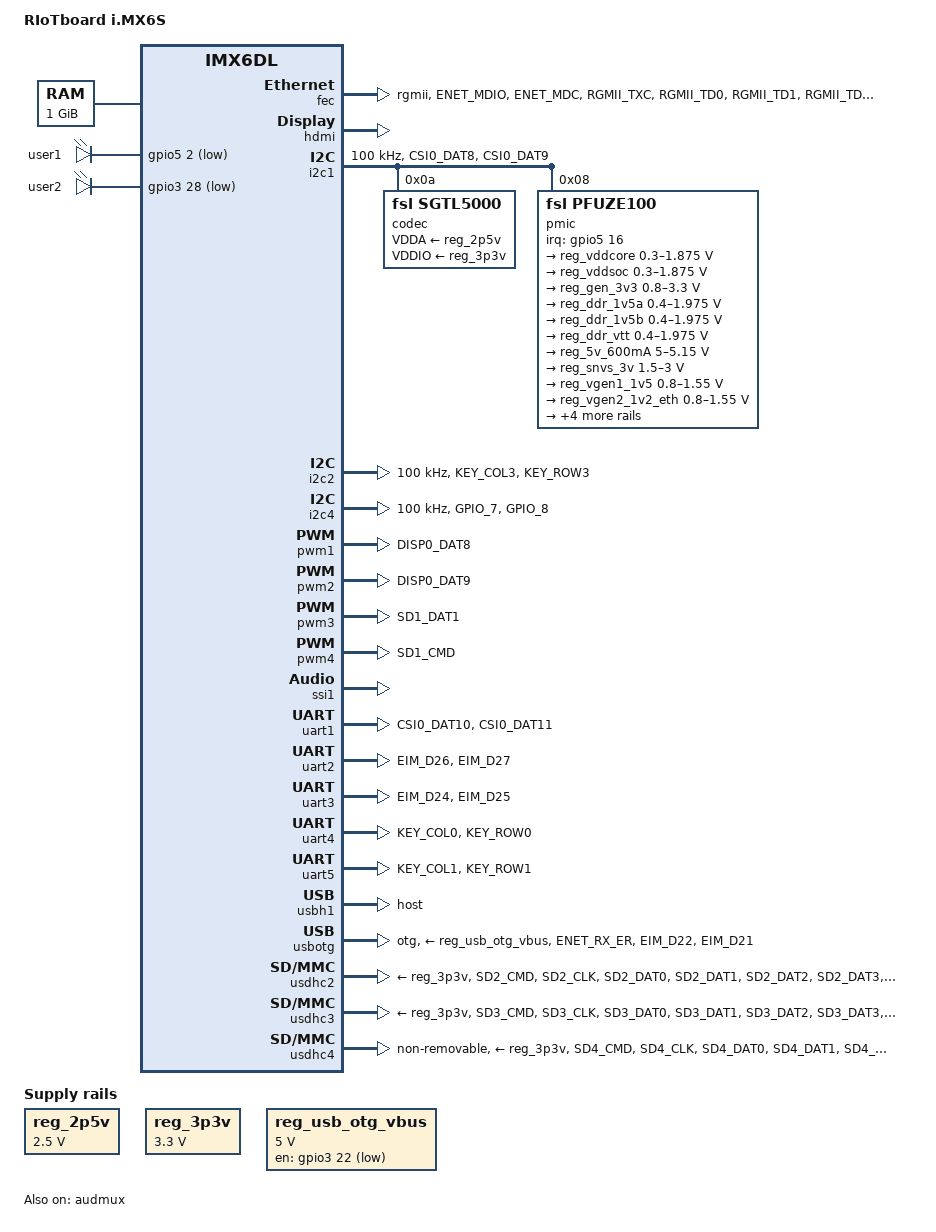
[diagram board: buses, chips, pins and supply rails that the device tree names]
/*
 * Copyright 2014 Iain Paton <ipaton0@gmail.com>
 *
 * This program is free software; you can redistribute it and/or modify
 * it under the terms of the GNU General Public License version 2 as
 * published by the Free Software Foundation.
 *
 */

/dts-v1/;
#include "imx6dl.dtsi"
#include <dt-bindings/gpio/gpio.h>

/ {
	model = "RIoTboard i.MX6S";
	compatible = "riot,imx6s-riotboard", "fsl,imx6dl";

	memory@10000000 {
		reg = <0x10000000 0x40000000>;
	};

	chosen {
		stdout-path = "serial1:115200n8";
	};

	leds {
		compatible = "gpio-leds";
		pinctrl-names = "default";
		pinctrl-0 = <&pinctrl_led>;

		led0: user1 {
			label = "user1";
			gpios = <&gpio5 2 GPIO_ACTIVE_LOW>;
			default-state = "on";
			linux,default-trigger = "heartbeat";
		};

		led1: user2 {
			label = "user2";
			gpios = <&gpio3 28 GPIO_ACTIVE_LOW>;
			default-state = "off";
		};
	};

	sound {
		compatible = "fsl,imx-audio-sgtl5000";
		model = "imx6-riotboard-sgtl5000";
		ssi-controller = <&ssi1>;
		audio-codec = <&codec>;
		audio-routing =
			"MIC_IN", "Mic Jack",
			"Mic Jack", "Mic Bias",
			"Headphone Jack", "HP_OUT";
			mux-int-port = <1>;
			mux-ext-port = <3>;
	};

	reg_2p5v: regulator-2p5v {
		compatible = "regulator-fixed";
		regulator-name = "2P5V";
		regulator-min-microvolt = <2500000>;
		regulator-max-microvolt = <2500000>;
	};

	reg_3p3v: regulator-3p3v {
		compatible = "regulator-fixed";
		regulator-name = "3P3V";
		regulator-min-microvolt = <3300000>;
		regulator-max-microvolt = <3300000>;
	};

	reg_usb_otg_vbus: regulator-usbotgvbus {
		compatible = "regulator-fixed";
		regulator-name = "usb_otg_vbus";
		regulator-min-microvolt = <5000000>;
		regulator-max-microvolt = <5000000>;
		gpio = <&gpio3 22 GPIO_ACTIVE_LOW>;
	};
};

&audmux {
	pinctrl-names = "default";
	pinctrl-0 = <&pinctrl_audmux>;
	status = "okay";
};

&fec {
	pinctrl-names = "default";
	pinctrl-0 = <&pinctrl_enet>;
	phy-mode = "rgmii";
	phy-reset-gpios = <&gpio3 31 GPIO_ACTIVE_LOW>;
	interrupts-extended = <&gpio1 6 IRQ_TYPE_LEVEL_HIGH>,
			      <&intc 0 119 IRQ_TYPE_LEVEL_HIGH>;
	fsl,err006687-workaround-present;
	status = "okay";
};

&gpio1 {
	gpio-line-names =
		"", "", "SD2_WP", "", "SD2_CD", "I2C3_SCL",
			"I2C3_SDA", "I2C4_SCL",
		"I2C4_SDA", "", "", "", "", "", "", "",
		"", "PWM3", "", "", "", "", "", "",
		"", "", "", "", "", "", "", "";
};

&gpio3 {
	gpio-line-names =
		"", "", "", "", "", "", "", "",
		"", "", "", "", "", "", "", "",
		"", "", "", "", "", "", "USB_OTG_VBUS", "",
		"UART3_TXD", "UART3_RXD", "", "", "EIM_D28", "", "", "";
};

&gpio4 {
	gpio-line-names =
		"", "", "", "", "", "", "UART4_TXD", "UART4_RXD",
		"UART5_TXD", "UART5_RXD", "", "", "", "", "", "",
		"GPIO4_16", "GPIO4_17", "GPIO4_18", "GPIO4_19", "",
			"CSPI3_CLK", "CSPI3_MOSI", "CSPI3_MISO",
		"CSPI3_CS0", "CSPI3_CS1", "GPIO4_26", "GPIO4_27",
			"CSPI3_RDY", "PWM1", "PWM2", "GPIO4_31";
};

&gpio5 {
	gpio-line-names =
		"", "", "EIM_A25", "", "", "GPIO5_05", "GPIO5_06",
			"GPIO5_07",
		"GPIO5_08", "CSPI2_CS1", "CSPI2_MOSI", "CSPI2_MISO",
			"CSPI2_CS0", "CSPI2_CLK", "", "",
		"", "", "", "", "", "", "", "",
		"", "", "", "", "", "", "", "";
};

&gpio7 {
	gpio-line-names =
		"SD3_CD", "SD3_WP", "", "", "", "", "", "",
		"", "", "", "", "", "", "", "",
		"", "", "", "", "", "", "", "",
		"", "", "", "", "", "", "", "";
};

&hdmi {
	ddc-i2c-bus = <&i2c2>;
	status = "okay";
};

&i2c1 {
	clock-frequency = <100000>;
	pinctrl-names = "default";
	pinctrl-0 = <&pinctrl_i2c1>;
	status = "okay";

	codec: sgtl5000@a {
		compatible = "fsl,sgtl5000";
		reg = <0x0a>;
		clocks = <&clks IMX6QDL_CLK_CKO>;
		VDDA-supply = <&reg_2p5v>;
		VDDIO-supply = <&reg_3p3v>;
	};

	pmic: pf0100@8 {
		compatible = "fsl,pfuze100";
		reg = <0x08>;
		interrupt-parent = <&gpio5>;
		interrupts = <16 8>;

		regulators {
			reg_vddcore: sw1ab {				/* VDDARM_IN */
				regulator-min-microvolt = <300000>;
				regulator-max-microvolt = <1875000>;
				regulator-always-on;
			};

			reg_vddsoc: sw1c {				/* VDDSOC_IN */
				regulator-min-microvolt = <300000>;
				regulator-max-microvolt = <1875000>;
				regulator-always-on;
			};

			reg_gen_3v3: sw2 {				/* VDDHIGH_IN */
				regulator-min-microvolt = <800000>;
				regulator-max-microvolt = <3300000>;
				regulator-always-on;
			};

			reg_ddr_1v5a: sw3a {				/* NVCC_DRAM, NVCC_RGMII */
				regulator-min-microvolt = <400000>;
				regulator-max-microvolt = <1975000>;
				regulator-always-on;
			};

			reg_ddr_1v5b: sw3b {				/* NVCC_DRAM, NVCC_RGMII */
				regulator-min-microvolt = <400000>;
				regulator-max-microvolt = <1975000>;
				regulator-always-on;
			};

			reg_ddr_vtt: sw4 {				/* MIPI conn */
				regulator-min-microvolt = <400000>;
				regulator-max-microvolt = <1975000>;
				regulator-always-on;
			};

			reg_5v_600mA: swbst {				/* not used */
				regulator-min-microvolt = <5000000>;
				regulator-max-microvolt = <5150000>;
			};

			reg_snvs_3v: vsnvs {				/* VDD_SNVS_IN */
				regulator-min-microvolt = <1500000>;
				regulator-max-microvolt = <3000000>;
				regulator-always-on;
			};

			vref_reg: vrefddr {				/* VREF_DDR */
				regulator-boot-on;
				regulator-always-on;
			};

			reg_vgen1_1v5: vgen1 {				/* not used */
				regulator-min-microvolt = <800000>;
				regulator-max-microvolt = <1550000>;
			};

			reg_vgen2_1v2_eth: vgen2 {			/* pcie ? */
				regulator-min-microvolt = <800000>;
				regulator-max-microvolt = <1550000>;
				regulator-always-on;
			};

			reg_vgen3_2v8: vgen3 {				/* not used */
				regulator-min-microvolt = <1800000>;
				regulator-max-microvolt = <3300000>;
			};
			reg_vgen4_1v8: vgen4 {				/* NVCC_SD3 */
				regulator-min-microvolt = <1800000>;
				regulator-max-microvolt = <3300000>;
				regulator-always-on;
			};

			reg_vgen5_2v5_sgtl: vgen5 {			/* Pwr LED & 5V0_delayed enable */
				regulator-min-microvolt = <1800000>;
				regulator-max-microvolt = <3300000>;
				regulator-always-on;
			};

			reg_vgen6_3v3: vgen6 {				/* #V#_DELAYED enable, MIPI */
				regulator-min-microvolt = <1800000>;
				regulator-max-microvolt = <3300000>;
				regulator-always-on;
			};
		};
	};
};

&i2c2 {
	clock-frequency = <100000>;
	pinctrl-names = "default";
	pinctrl-0 = <&pinctrl_i2c2>;
	status = "okay";
};

&i2c4 {
	clock-frequency = <100000>;
	pinctrl-names = "default";
	pinctrl-0 = <&pinctrl_i2c4>;
	clocks = <&clks 116>;
	status = "okay";
};

&pwm1 {
	pinctrl-names = "default";
	pinctrl-0 = <&pinctrl_pwm1>;
	status = "okay";
};

&pwm2 {
	pinctrl-names = "default";
	pinctrl-0 = <&pinctrl_pwm2>;
	status = "okay";
};

&pwm3 {
	pinctrl-names = "default";
	pinctrl-0 = <&pinctrl_pwm3>;
	status = "okay";
};

&pwm4 {
	pinctrl-names = "default";
	pinctrl-0 = <&pinctrl_pwm4>;
	status = "okay";
};

&ssi1 {
	status = "okay";
};

&uart1 {
	pinctrl-names = "default";
	pinctrl-0 = <&pinctrl_uart1>;
	status = "okay";
};

&uart2 {
	pinctrl-names = "default";
	pinctrl-0 = <&pinctrl_uart2>;
	status = "okay";
};

&uart3 {
	pinctrl-names = "default";
	pinctrl-0 = <&pinctrl_uart3>;
	status = "okay";
};

&uart4 {
	pinctrl-names = "default";
	pinctrl-0 = <&pinctrl_uart4>;
	status = "okay";
};

&uart5 {
	pinctrl-names = "default";
	pinctrl-0 = <&pinctrl_uart5>;
	status = "okay";
};

&usbh1 {
	dr_mode = "host";
	disable-over-current;
	status = "okay";
};

&usbotg {
	vbus-supply = <&reg_usb_otg_vbus>;
	pinctrl-names = "default";
	pinctrl-0 = <&pinctrl_usbotg>;
	disable-over-current;
	dr_mode = "otg";
	status = "okay";
};

&usdhc2 {
	pinctrl-names = "default";
	pinctrl-0 = <&pinctrl_usdhc2>;
	cd-gpios = <&gpio1 4 GPIO_ACTIVE_LOW>;
	wp-gpios = <&gpio1 2 GPIO_ACTIVE_HIGH>;
	vmmc-supply = <&reg_3p3v>;
	status = "okay";
};

&usdhc3 {
	pinctrl-names = "default";
	pinctrl-0 = <&pinctrl_usdhc3>;
	cd-gpios = <&gpio7 0 GPIO_ACTIVE_LOW>;
	wp-gpios = <&gpio7 1 GPIO_ACTIVE_HIGH>;
	vmmc-supply = <&reg_3p3v>;
	status = "okay";
};

&usdhc4 {
	pinctrl-names = "default";
	pinctrl-0 = <&pinctrl_usdhc4>;
	vmmc-supply = <&reg_3p3v>;
	non-removable;
	status = "okay";
};

&iomuxc {
	pinctrl-names = "default";

	imx6-riotboard {
		pinctrl_audmux: audmuxgrp {
			fsl,pins = <
				MX6QDL_PAD_CSI0_DAT7__AUD3_RXD		0x130b0
				MX6QDL_PAD_CSI0_DAT4__AUD3_TXC		0x130b0
				MX6QDL_PAD_CSI0_DAT5__AUD3_TXD		0x110b0
				MX6QDL_PAD_CSI0_DAT6__AUD3_TXFS		0x130b0
				MX6QDL_PAD_GPIO_0__CCM_CLKO1		0x130b0		/* CAM_MCLK */
			>;
		};

		pinctrl_ecspi1: ecspi1grp {
			fsl,pins = <
				MX6QDL_PAD_EIM_D16__ECSPI1_SCLK		0x100b1
				MX6QDL_PAD_EIM_D17__ECSPI1_MISO		0x100b1
				MX6QDL_PAD_EIM_D18__ECSPI1_MOSI		0x100b1
				MX6QDL_PAD_DISP0_DAT23__GPIO5_IO17	0x000b1		/* CS0 */
			>;
		};

		pinctrl_ecspi2: ecspi2grp {
			fsl,pins = <
				MX6QDL_PAD_DISP0_DAT15__GPIO5_IO09	0x000b1		/* CS1 */
				MX6QDL_PAD_DISP0_DAT16__ECSPI2_MOSI	0x100b1
				MX6QDL_PAD_DISP0_DAT17__ECSPI2_MISO	0x100b1
				MX6QDL_PAD_DISP0_DAT18__GPIO5_IO12	0x000b1		/* CS0 */
				MX6QDL_PAD_DISP0_DAT19__ECSPI2_SCLK	0x100b1
			>;
		};

		pinctrl_ecspi3: ecspi3grp {
			fsl,pins = <
				MX6QDL_PAD_DISP0_DAT0__ECSPI3_SCLK	0x100b1
				MX6QDL_PAD_DISP0_DAT1__ECSPI3_MOSI	0x100b1
				MX6QDL_PAD_DISP0_DAT2__ECSPI3_MISO	0x100b1
				MX6QDL_PAD_DISP0_DAT3__GPIO4_IO24	0x000b1		/* CS0 */
				MX6QDL_PAD_DISP0_DAT4__GPIO4_IO25	0x000b1		/* CS1 */
			>;
		};

		pinctrl_enet: enetgrp {
			fsl,pins = <
				MX6QDL_PAD_ENET_MDIO__ENET_MDIO		0x1b0b0
				MX6QDL_PAD_ENET_MDC__ENET_MDC		0x1b0b0
				MX6QDL_PAD_RGMII_TXC__RGMII_TXC		0x1b030
				MX6QDL_PAD_RGMII_TD0__RGMII_TD0		0x1b030
				MX6QDL_PAD_RGMII_TD1__RGMII_TD1		0x1b030
				MX6QDL_PAD_RGMII_TD2__RGMII_TD2		0x1b030
				MX6QDL_PAD_RGMII_TD3__RGMII_TD3		0x1b030
				MX6QDL_PAD_RGMII_TX_CTL__RGMII_TX_CTL	0x1b030
				MX6QDL_PAD_ENET_REF_CLK__ENET_TX_CLK	0x0a0b1		/* AR8035 CLK_25M --> ENET_REF_CLK (V22) */
				MX6QDL_PAD_RGMII_RXC__RGMII_RXC		0x1b030		/* AR8035 pin strapping: IO voltage: pull up */
				MX6QDL_PAD_RGMII_RD0__RGMII_RD0		0x13030		/* AR8035 pin strapping: PHYADDR#0: pull down */
				MX6QDL_PAD_RGMII_RD1__RGMII_RD1		0x13030		/* AR8035 pin strapping: PHYADDR#1: pull down */
				MX6QDL_PAD_RGMII_RD2__RGMII_RD2		0x1b030		/* AR8035 pin strapping: MODE#1: pull up */
				MX6QDL_PAD_RGMII_RD3__RGMII_RD3		0x1b030		/* AR8035 pin strapping: MODE#3: pull up */
				MX6QDL_PAD_RGMII_RX_CTL__RGMII_RX_CTL	0x130b0		/* AR8035 pin strapping: MODE#0: pull down */
				MX6QDL_PAD_GPIO_16__ENET_REF_CLK	0x4001b0a8	/* GPIO16 -> AR8035 25MHz */
				MX6QDL_PAD_EIM_D31__GPIO3_IO31		0x130b0		/* RGMII_nRST */
				MX6QDL_PAD_ENET_TX_EN__GPIO1_IO28	0x180b0		/* AR8035 interrupt */
				MX6QDL_PAD_GPIO_6__ENET_IRQ		0x000b1
			>;
		};

		pinctrl_i2c1: i2c1grp {
			fsl,pins = <
				MX6QDL_PAD_CSI0_DAT8__I2C1_SDA		0x4001b8b1
				MX6QDL_PAD_CSI0_DAT9__I2C1_SCL		0x4001b8b1
			>;
		};

		pinctrl_i2c2: i2c2grp {
			fsl,pins = <
				MX6QDL_PAD_KEY_COL3__I2C2_SCL		0x4001b8b1
				MX6QDL_PAD_KEY_ROW3__I2C2_SDA		0x4001b8b1
			>;
		};

		pinctrl_i2c3: i2c3grp {
			fsl,pins = <
				MX6QDL_PAD_GPIO_5__I2C3_SCL		0x4001b8b1
				MX6QDL_PAD_GPIO_6__I2C3_SDA		0x4001b8b1
			>;
		};

		pinctrl_i2c4: i2c4grp {
			fsl,pins = <
				MX6QDL_PAD_GPIO_7__I2C4_SCL             0x4001b8b1
				MX6QDL_PAD_GPIO_8__I2C4_SDA             0x4001b8b1
			>;
		};

		pinctrl_led: ledgrp {
			fsl,pins = <
				MX6QDL_PAD_EIM_A25__GPIO5_IO02		0x1b0b1	/* user led0 */
				MX6QDL_PAD_EIM_D28__GPIO3_IO28		0x1b0b1	/* user led1 */
			>;
		};

		pinctrl_pwm1: pwm1grp {
			fsl,pins = <
				MX6QDL_PAD_DISP0_DAT8__PWM1_OUT		0x1b0b1
			>;
		};

		pinctrl_pwm2: pwm2grp {
			fsl,pins = <
				MX6QDL_PAD_DISP0_DAT9__PWM2_OUT		0x1b0b1
			>;
		};

		pinctrl_pwm3: pwm3grp {
			fsl,pins = <
				MX6QDL_PAD_SD1_DAT1__PWM3_OUT		0x1b0b1
			>;
		};

		pinctrl_pwm4: pwm4grp {
			fsl,pins = <
				MX6QDL_PAD_SD1_CMD__PWM4_OUT		0x1b0b1
			>;
		};

		pinctrl_uart1: uart1grp {
			fsl,pins = <
				MX6QDL_PAD_CSI0_DAT10__UART1_TX_DATA	0x1b0b1
				MX6QDL_PAD_CSI0_DAT11__UART1_RX_DATA	0x1b0b1
			>;
		};

		pinctrl_uart2: uart2grp {
			fsl,pins = <
				MX6QDL_PAD_EIM_D26__UART2_TX_DATA	0x1b0b1
				MX6QDL_PAD_EIM_D27__UART2_RX_DATA	0x1b0b1
			>;
		};

		pinctrl_uart3: uart3grp {
			fsl,pins = <
				MX6QDL_PAD_EIM_D24__UART3_TX_DATA	0x1b0b1
				MX6QDL_PAD_EIM_D25__UART3_RX_DATA	0x1b0b1
			>;
		};

		pinctrl_uart4: uart4grp {
			fsl,pins = <
				MX6QDL_PAD_KEY_COL0__UART4_TX_DATA	0x1b0b1
				MX6QDL_PAD_KEY_ROW0__UART4_RX_DATA	0x1b0b1
			>;
		};

		pinctrl_uart5: uart5grp {
			fsl,pins = <
				MX6QDL_PAD_KEY_COL1__UART5_TX_DATA	0x1b0b1
				MX6QDL_PAD_KEY_ROW1__UART5_RX_DATA	0x1b0b1
			>;
		};

		pinctrl_usbotg: usbotggrp {
			fsl,pins = <
				MX6QDL_PAD_ENET_RX_ER__USB_OTG_ID	0x17059
				MX6QDL_PAD_EIM_D22__GPIO3_IO22		0x000b0	/* MX6QDL_PAD_EIM_D22__USB_OTG_PWR */
				MX6QDL_PAD_EIM_D21__USB_OTG_OC		0x1b0b0
			>;
		};

		pinctrl_usdhc2: usdhc2grp {
			fsl,pins = <
				MX6QDL_PAD_SD2_CMD__SD2_CMD		0x17059
				MX6QDL_PAD_SD2_CLK__SD2_CLK		0x10059
				MX6QDL_PAD_SD2_DAT0__SD2_DATA0		0x17059
				MX6QDL_PAD_SD2_DAT1__SD2_DATA1		0x17059
				MX6QDL_PAD_SD2_DAT2__SD2_DATA2		0x17059
				MX6QDL_PAD_SD2_DAT3__SD2_DATA3		0x17059
				MX6QDL_PAD_GPIO_4__GPIO1_IO04		0x1b0b0	/* SD2 CD */
				MX6QDL_PAD_GPIO_2__GPIO1_IO02		0x1f0b0	/* SD2 WP */
			>;
		};

		pinctrl_usdhc3: usdhc3grp {
			fsl,pins = <
				MX6QDL_PAD_SD3_CMD__SD3_CMD		0x17059
				MX6QDL_PAD_SD3_CLK__SD3_CLK		0x10059
				MX6QDL_PAD_SD3_DAT0__SD3_DATA0		0x17059
				MX6QDL_PAD_SD3_DAT1__SD3_DATA1		0x17059
				MX6QDL_PAD_SD3_DAT2__SD3_DATA2		0x17059
				MX6QDL_PAD_SD3_DAT3__SD3_DATA3		0x17059
				MX6QDL_PAD_SD3_DAT5__GPIO7_IO00		0x1b0b0	/* SD3 CD */
				MX6QDL_PAD_SD3_DAT4__GPIO7_IO01		0x1f0b0	/* SD3 WP */
			>;
		};

		pinctrl_usdhc4: usdhc4grp {
			fsl,pins = <
				MX6QDL_PAD_SD4_CMD__SD4_CMD		0x17059
				MX6QDL_PAD_SD4_CLK__SD4_CLK		0x10059
				MX6QDL_PAD_SD4_DAT0__SD4_DATA0		0x17059
				MX6QDL_PAD_SD4_DAT1__SD4_DATA1		0x17059
				MX6QDL_PAD_SD4_DAT2__SD4_DATA2		0x17059
				MX6QDL_PAD_SD4_DAT3__SD4_DATA3		0x17059
				MX6QDL_PAD_NANDF_ALE__GPIO6_IO08	0x17059	/* SD4 RST (eMMC) */
			>;
		};
	};
};
